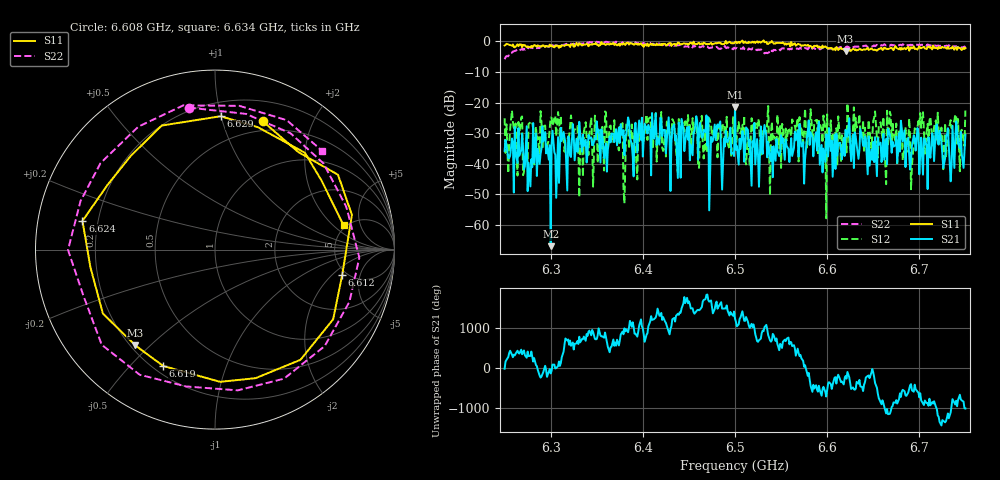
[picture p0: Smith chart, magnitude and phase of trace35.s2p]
# Hz S RI R 50
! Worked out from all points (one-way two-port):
!   401 points, 6.25 GHz to 6.75 GHz, reference 50 ohm
!   highest |S21| = -21.60 dB at 6.5 GHz (marker M1); lowest = -66.9 dB at 6.3 GHz (marker M2)
!   lowest |S11| = -3.2 dB at 6.62 GHz (marker M3), VSWR 5.54, Z = 10.9 - j22.6 ohm
!   |S11| at or under -10 dB: nowhere
!   |S22| runs from -5.9 to -0.1 dB; largest |S21 - S12| = 0.12
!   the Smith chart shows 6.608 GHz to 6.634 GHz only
!   S11 on the Smith chart (normalised r, x): 6.608 GHz: 0.40, +1.36; 6.612 GHz: 4.53, -2.71; 6.619 GHz: 0.24, -0.62; 6.624 GHz: 0.14, +0.10; 6.629 GHz: 0.30, +1.00; 6.634 GHz: 4.73, +2.74
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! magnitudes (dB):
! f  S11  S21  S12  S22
! 6.25 GHz  -1.4  -35.8  -25.2  -5.9
! 6.268 GHz  -1.1  -35.6  -24.9  -2.7
! 6.272 GHz  -1.3  -40.9  -37.8  -2.7
! 6.279 GHz  -1.5  -38.6  -26.1  -2.1
! 6.294 GHz  -1.9  -29.6  -27.5  -1.6
! 6.3 GHz  -1.6  -66.9  -24.9  -1.2
! 6.334 GHz  -1.4  -36.1  -31.0  -0.7
! 6.418 GHz  -1.1  -33.7  -32.3  -0.7
! 6.5 GHz  -0.3  -21.6  -28.7  -2.3
! 6.584 GHz  -2.2  -31.2  -30.1  -2.5
! 6.608 GHz  -2.4  -30.6  -34.4  -1.9
! 6.612 GHz  -2.8  -33.3  -24.5  -2.3
! 6.619 GHz  -3.0  -37.5  -35.6  -2.0
! 6.62 GHz  -3.2  -28.9  -29.2  -2.2
! 6.624 GHz  -2.4  -25.1  -32.8  -2.2
! 6.629 GHz  -2.6  -41.4  -21.6  -1.9
! 6.634 GHz  -2.7  -38.4  -26.8  -1.8
! 6.668 GHz  -2.3  -30.4  -23.0  -1.5
! 6.692 GHz  -2.4  -34.1  -40.8  -1.3
! 6.701 GHz  -2.3  -36.7  -23.4  -1.3
! 6.728 GHz  -2.1  -38.3  -26.7  -1.6
! 6.75 GHz  -2.2  -30.6  -22.6  -2.4
